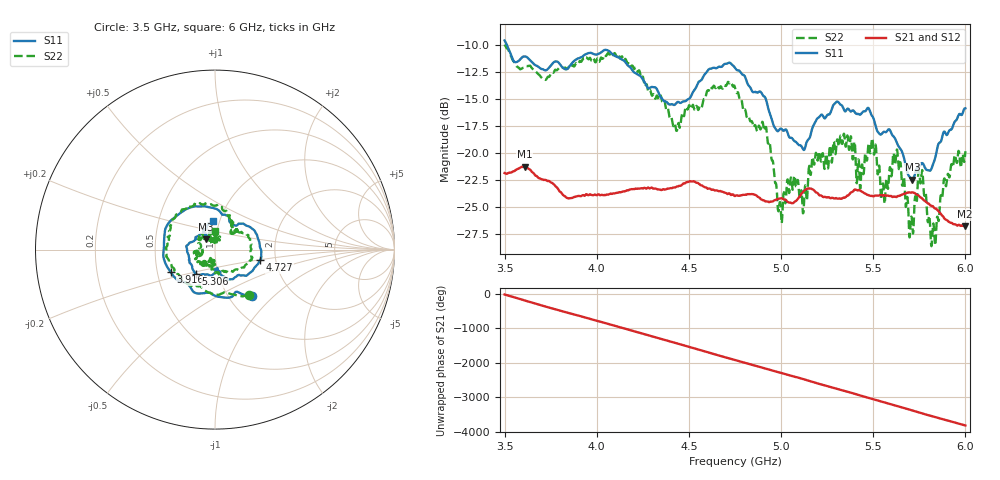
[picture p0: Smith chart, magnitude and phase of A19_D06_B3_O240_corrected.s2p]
! Created with skrf 1.9.0 (http://scikit-rf.org).
# Hz S RI R 50.0
!freq ReS11 ImS11 ReS21 ImS21 ReS12 ImS12 ReS22 ImS22
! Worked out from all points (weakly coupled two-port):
!   1601 points, 3.5 GHz to 6 GHz, reference 50 ohm
!   highest |S21| = -21.28 dB at 3.609 GHz (marker M1); lowest = -26.8 dB at 5.995 GHz (marker M2)
!   lowest |S11| = -22.5 dB at 5.713 GHz (marker M3), VSWR 1.16, Z = 45.1 + j5.19 ohm
!   |S11| at or under -10 dB: 3.512 GHz to end of sweep
!   |S22| runs from -28.7 to -10.0 dB; largest |S21 - S12| = 0.00095
!   S11 on the Smith chart (normalised r, x): 3.5 GHz: 1.28, -0.74; 3.916 GHz: 0.59, -0.16; 4.727 GHz: 1.66, -0.20; 5.306 GHz: 0.78, -0.22; 6 GHz: 0.93, +0.31
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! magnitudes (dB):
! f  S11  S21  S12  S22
! 3.5 GHz  -9.6  -21.9  -21.8  -10.0
! 3.609 GHz  -11.1  -21.3  -21.3  -12.1
! 3.916 GHz  -11.2  -24.0  -24.0  -11.6
! 3.917 GHz  -11.1  -24.0  -24.0  -11.5
! 4.334 GHz  -14.4  -23.4  -23.3  -15.0
! 4.441 GHz  -15.3  -23.1  -23.1  -17.4
! 4.727 GHz  -11.7  -23.9  -23.8  -13.5
! 4.75 GHz  -12.1  -24.0  -23.9  -14.0
! 4.911 GHz  -14.8  -24.5  -24.4  -17.9
! 4.994 GHz  -17.8  -24.2  -24.2  -24.6
! 5.062 GHz  -18.7  -24.7  -24.6  -23.4
! 5.128 GHz  -19.6  -23.5  -23.5  -23.5
! 5.167 GHz  -17.8  -23.4  -23.3  -20.9
! 5.306 GHz  -15.3  -24.2  -24.2  -18.8
! 5.584 GHz  -17.8  -24.0  -23.9  -22.5
! 5.636 GHz  -19.4  -24.0  -23.9  -21.0
! 5.713 GHz  -22.5  -23.7  -23.6  -26.9
! 5.756 GHz  -21.1  -24.1  -24.1  -22.8
! 5.827 GHz  -21.0  -25.0  -25.0  -26.6
! 5.892 GHz  -18.2  -26.2  -26.1  -23.0
! 5.995 GHz  -15.9  -26.8  -26.7  -20.7
! 6 GHz  -15.9  -26.8  -26.7  -19.9
